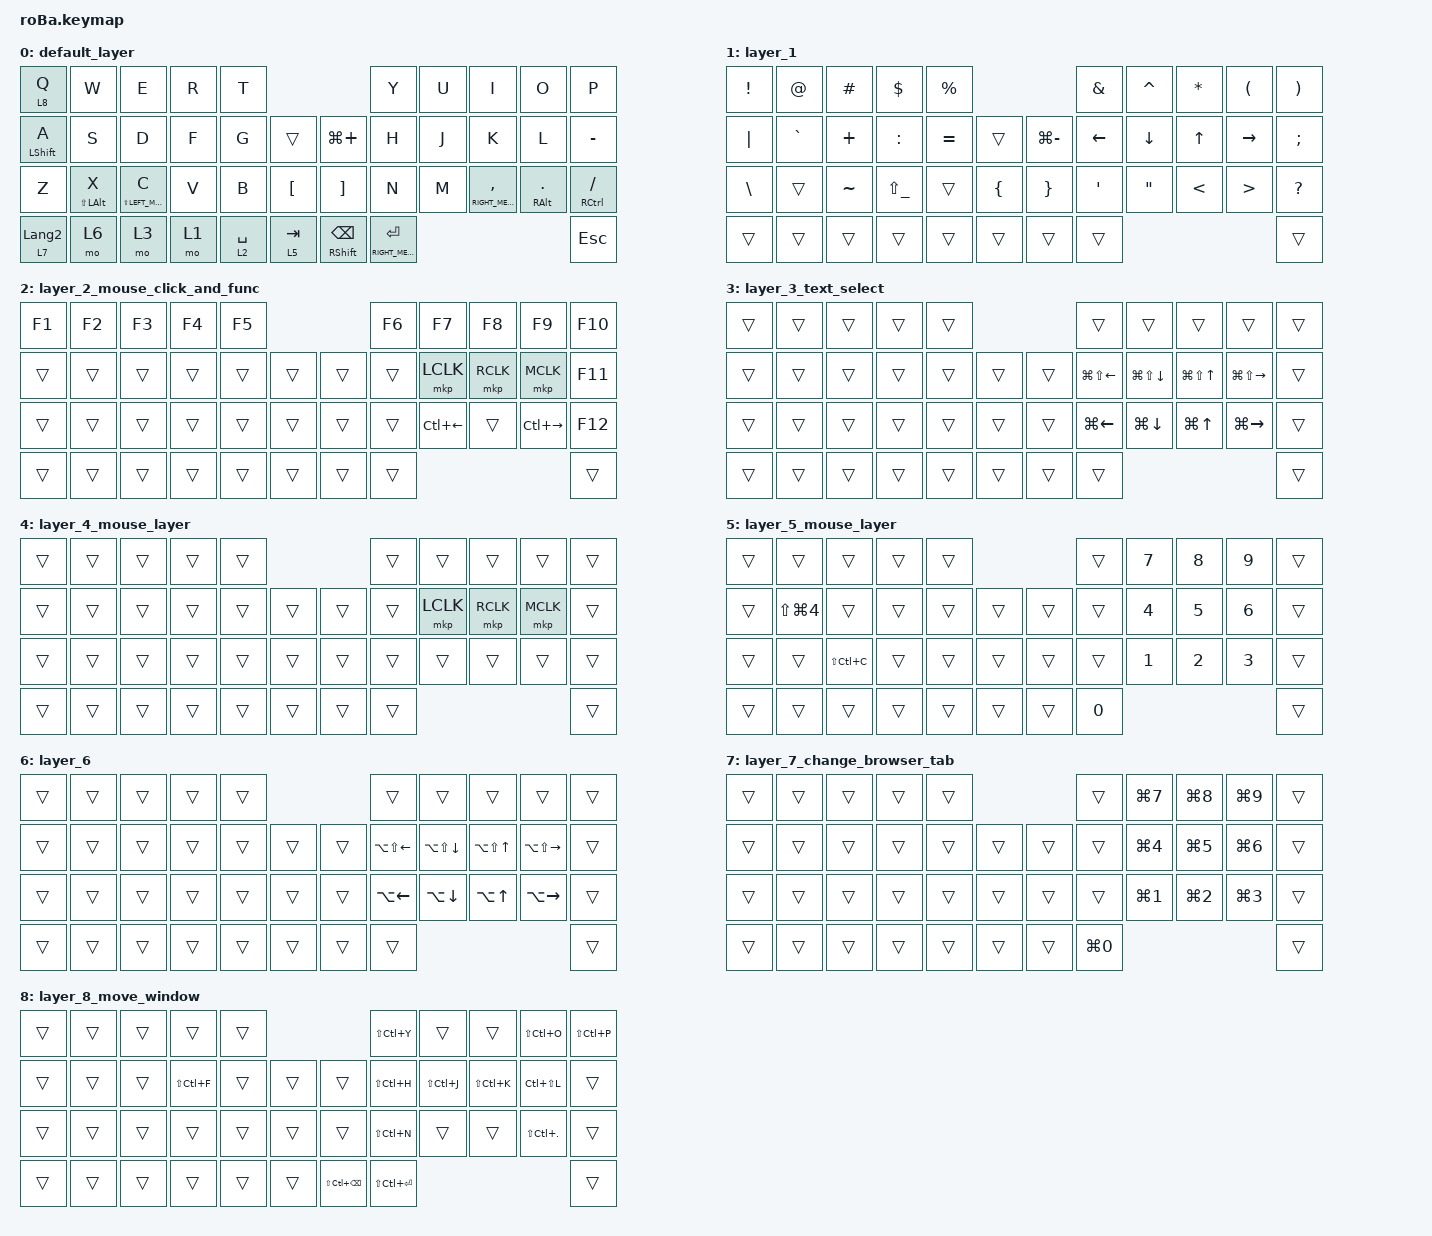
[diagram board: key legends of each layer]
#include <behaviors.dtsi>
#include <dt-bindings/zmk/keys.h>
#include <dt-bindings/zmk/pointing.h>

&mt {
    flavor = "balanced";
    quick-tap-ms = <0>;
};

&trackball {
    scroll-layers = <5>;

    // arrows {
    //     layers = <3>;
    //     bindings =
    //         <&kp RIGHT_ARROW>,
    //         <&kp LEFT_ARROW>,
    //         <&kp UP_ARROW>,
    //         <&kp DOWN_ARROW>;
    //     tick = <10>;
    //     wait-ms = <5>;
    //     tap-ms = <5>;
    // };
};

/ {
    combos {
        compatible = "zmk,combos";

        lang1 {
            bindings = <&kp LANGUAGE_1>;
            key-positions = <34 40>;
        };

        chatgpt_voice {
            bindings = <&kp LA(F20)>;
            key-positions = <18 19>;
        };
    };

    macros {
        to_layer_0: to_layer_0 {
            compatible = "zmk,behavior-macro-one-param";
            #binding-cells = <1>;
            bindings = <&to 0 &macro_param_1to1 &kp MACRO_PLACEHOLDER>;
            label = "TO_LAYER_0";
        };
    };

    behaviors {
        lt_to_layer_0: lt_to_layer_0 {
            compatible = "zmk,behavior-hold-tap";
            label = "LAYER_TAP_TO_0";
            bindings = <&mo>, <&to_layer_0>;

            #binding-cells = <2>;
            tapping-term-ms = <200>;
        };

        mt_slow: mt_slow {
            compatible = "zmk,behavior-hold-tap";
            label = "MOD_TAP_SLOW";
            bindings = <&kp>, <&kp>;

            #binding-cells = <2>;
            flavor = "balanced";
            tapping-term-ms = <300>;
            quick-tap-ms = <0>;
        };

        mt_fast: mt_fast {
            compatible = "zmk,behavior-hold-tap";
            label = "MT_FAST";
            bindings = <&kp>, <&kp>;

            #binding-cells = <2>;
            flavor = "balanced";
            tapping-term-ms = <145>;
            quick-tap-ms = <0>;
        };
    };

    keymap {
        compatible = "zmk,keymap";

        default_layer {
            bindings = <
&lt 8 Q                &kp W                    &kp E                     &kp R  &kp T                                                             &kp Y                 &kp U  &kp I                 &kp O                 &kp P
&mt_slow LEFT_SHIFT A  &kp S                    &kp D                     &kp F  &kp G        &trans                    &kp LG(PLUS)               &kp H                 &kp J  &kp K                 &kp L                 &kp MINUS
&kp Z                  &mt_slow LS(LEFT_ALT) X  &mt_slow LS(LEFT_META) C  &kp V  &kp B        &kp LEFT_BRACKET          &kp RIGHT_BRACKET          &kp N                 &kp M  &mt RIGHT_META COMMA  &mt RIGHT_ALT PERIOD  &mt_fast RCTRL SLASH
&lt 7 LANGUAGE_2       &mo 6                    &mo 3                     &mo 1  &lt 2 SPACE  &lt_to_layer_0 5 TAB      &mt RIGHT_SHIFT BACKSPACE  &mt RIGHT_META ENTER                                                     &kp ESCAPE
            >;
        };

        layer_1 {
            bindings = <
&kp EXCLAMATION  &kp AT_SIGN  &kp HASH   &kp DOLLAR          &kp PERCENT                                       &kp AMPERSAND     &kp CARET          &kp ASTERISK   &kp LEFT_PARENTHESIS  &kp RIGHT_PARENTHESIS
&kp PIPE         &kp GRAVE    &kp PLUS   &kp COLON           &kp EQUAL    &trans              &kp LG(MINUS)    &kp LEFT_ARROW    &kp DOWN_ARROW     &kp UP_ARROW   &kp RIGHT_ARROW       &kp SEMICOLON
&kp BACKSLASH    &trans       &kp TILDE  &kp LS(UNDERSCORE)  &trans       &kp LEFT_BRACE      &kp RIGHT_BRACE  &kp SINGLE_QUOTE  &kp DOUBLE_QUOTES  &kp LESS_THAN  &kp GREATER_THAN      &kp QUESTION
&trans           &trans       &trans     &trans              &trans       &trans              &trans           &trans                                                                    &trans
            >;
        };

        layer_2_mouse_click_and_func {
            bindings = <
&kp F1  &kp F2  &kp F3  &kp F4  &kp F5                      &kp F6  &kp F7              &kp F8     &kp F9               &kp F10
&trans  &trans  &trans  &trans  &trans  &trans      &trans  &trans  &mkp LCLK           &mkp RCLK  &mkp MCLK            &kp F11
&trans  &trans  &trans  &trans  &trans  &trans      &trans  &trans  &kp LC(LEFT_ARROW)  &trans     &kp LC(RIGHT_ARROW)  &kp F12
&trans  &trans  &trans  &trans  &trans  &trans      &trans  &trans                                                      &trans
            >;
        };

        layer_3_text_select {
            bindings = <
&trans  &trans  &trans  &trans  &trans                      &trans                  &trans                  &trans                &trans             &trans
&trans  &trans  &trans  &trans  &trans  &trans      &trans  &kp LG(LS(LEFT_ARROW))  &kp LG(LS(DOWN_ARROW))  &kp LG(LS(UP_ARROW))  &kp LG(LS(RIGHT))  &trans
&trans  &trans  &trans  &trans  &trans  &trans      &trans  &kp LG(LEFT)            &kp LG(DOWN)            &kp LG(UP)            &kp LG(RIGHT)      &trans
&trans  &trans  &trans  &trans  &trans  &trans      &trans  &trans                                                                                   &trans
            >;
        };

        layer_4_mouse_layer {
            bindings = <
&trans  &trans  &trans  &trans  &trans                      &trans  &trans     &trans     &trans     &trans
&trans  &trans  &trans  &trans  &trans  &trans      &trans  &trans  &mkp LCLK  &mkp RCLK  &mkp MCLK  &trans
&trans  &trans  &trans  &trans  &trans  &trans      &trans  &trans  &trans     &trans     &trans     &trans
&trans  &trans  &trans  &trans  &trans  &trans      &trans  &trans                                   &trans
            >;
        };

        layer_5_mouse_layer {
            bindings = <
&trans  &trans                &trans         &trans  &trans                      &trans  &kp N7  &kp N8  &kp N9  &trans
&trans  &kp LS(LG(NUMBER_4))  &trans         &trans  &trans  &trans      &trans  &trans  &kp N4  &kp N5  &kp N6  &trans
&trans  &trans                &kp LS(LC(C))  &trans  &trans  &trans      &trans  &trans  &kp N1  &kp N2  &kp N3  &trans
&trans  &trans                &trans         &trans  &trans  &trans      &trans  &kp N0                          &trans
            >;
        };

        layer_6 {
            bindings = <
&trans  &trans  &trans  &trans  &trans                      &trans                  &trans                  &trans                &trans                   &trans
&trans  &trans  &trans  &trans  &trans  &trans      &trans  &kp LA(LS(LEFT_ARROW))  &kp LA(LS(DOWN_ARROW))  &kp LA(LS(UP_ARROW))  &kp LA(LS(RIGHT_ARROW))  &trans
&trans  &trans  &trans  &trans  &trans  &trans      &trans  &kp LA(LEFT)            &kp LA(DOWN)            &kp LA(UP)            &kp LA(RIGHT)            &trans
&trans  &trans  &trans  &trans  &trans  &trans      &trans  &trans                                                                                         &trans
            >;
        };

        layer_7_change_browser_tab {
            bindings = <
&trans  &trans  &trans  &trans  &trans                      &trans            &kp LG(NUMBER_7)  &kp LG(NUMBER_8)  &kp LG(NUMBER_9)  &trans
&trans  &trans  &trans  &trans  &trans  &trans      &trans  &trans            &kp LG(NUMBER_4)  &kp LG(NUMBER_5)  &kp LG(NUMBER_6)  &trans
&trans  &trans  &trans  &trans  &trans  &trans      &trans  &trans            &kp LG(NUMBER_1)  &kp LG(NUMBER_2)  &kp LG(NUMBER_3)  &trans
&trans  &trans  &trans  &trans  &trans  &trans      &trans  &kp LG(NUMBER_0)                                                        &trans
            >;
        };

        layer_8_move_window {
            bindings = <
&trans  &trans  &trans  &trans         &trans                                     &kp LS(LC(Y))      &trans         &trans         &kp LS(LC(O))    &kp LS(LC(P))
&trans  &trans  &trans  &kp LS(LC(F))  &trans  &trans      &trans                 &kp LS(LC(H))      &kp LS(LC(J))  &kp LS(LC(K))  &kp LC(LS(L))    &trans
&trans  &trans  &trans  &trans         &trans  &trans      &trans                 &kp LS(LC(N))      &trans         &trans         &kp LS(LC(DOT))  &trans
&trans  &trans  &trans  &trans         &trans  &trans      &kp LS(LC(BACKSPACE))  &kp LS(LC(ENTER))                                                 &trans
            >;
        };
    };
};
